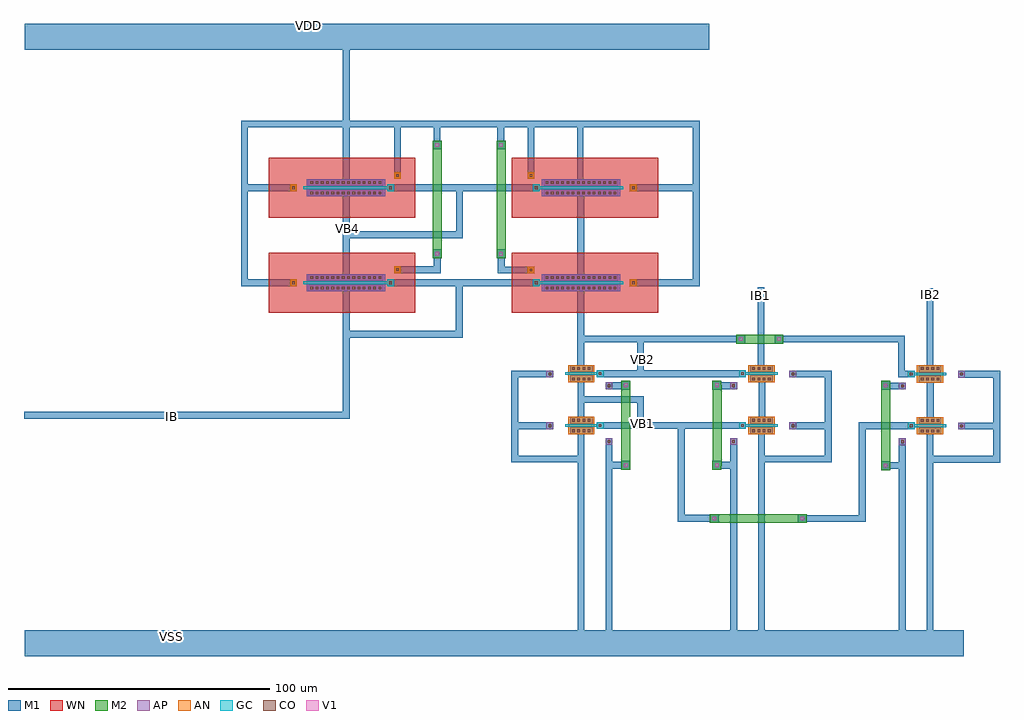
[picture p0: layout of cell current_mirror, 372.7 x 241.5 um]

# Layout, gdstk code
from math import pi, radians
import gdstk
lib = gdstk.Library(unit=1e-6, precision=1e-07)
def R(c, l, rs):  # rectangles x0, y0, x1, y1
    for r in rs: c.add(gdstk.rectangle(r[:2], r[2:], *l))
def A(c, l, x, y, w, h, nx, ny, dx, dy):  # array of equal rectangles
    R(c, l, [(x+i*dx, y+j*dy, x+i*dx+w, y+j*dy+h) for i in range(nx) for j in range(ny)])
def P(c, l, *ps):  # polygons
    for p in ps: c.add(gdstk.Polygon(p, *l))
AP = (3, 1)
AN = (3, 2)
GC = (8, 1)
CO = (11, 0)
M1 = (13, 0)
V1 = (19, 0)
M2 = (20, 0)
WN = (140, 0)

fet_n = lib.new_cell('fet_n')
R(fet_n, AN, [(-3.3,-5,3.3,5)])
A(fet_n, CO, -2.5, -3.5, 1, 1, 1, 4, 0, 2)
A(fet_n, CO, 1.5, -3.5, 1, 1, 1, 4, 0, 2)
R(fet_n, M1, [(-3.3,-4.3,-0.7,4.3), (0.7,-4.3,3.3,4.3)])
fet_n.add(gdstk.FlexPath([(0,-6.2),(0,6.2)], 1, ends="flush", simple_path=True, layer=8, datatype=1))  # GC

cont_g = lib.new_cell('cont_g')
R(cont_g, GC, [(-1.3,-1.3,1.3,1.3)])
R(cont_g, CO, [(-0.5,-0.5,0.5,0.5)])
R(cont_g, M1, [(-1.3,-1.3,1.3,1.3)])

cont_p = lib.new_cell('cont_p')
R(cont_p, AP, [(-1.3,-1.3,1.3,1.3)])
R(cont_p, CO, [(-0.5,-0.5,0.5,0.5)])
R(cont_p, M1, [(-1.3,-1.3,1.3,1.3)])

fet_p = lib.new_cell('fet_p')
R(fet_p, AP, [(-3.3,-15,3.3,15)])
A(fet_p, CO, -2.5, -13.5, 1, 1, 1, 14, 0, 2)
A(fet_p, CO, 1.5, -13.5, 1, 1, 1, 14, 0, 2)
R(fet_p, M1, [(-3.3,-14.3,-0.7,14.3), (0.7,-14.3,3.3,14.3)])
fet_p.add(gdstk.FlexPath([(0,-16.2),(0,16.2)], 1, ends="flush", simple_path=True, layer=8, datatype=1))  # GC

cont_n = lib.new_cell('cont_n')
R(cont_n, AN, [(-1.3,-1.3,1.3,1.3)])
R(cont_n, CO, [(-0.5,-0.5,0.5,0.5)])
R(cont_n, M1, [(-1.3,-1.3,1.3,1.3)])

via_1 = lib.new_cell('via_1')
R(via_1, M1, [(-1.7,-1.7,1.7,1.7)])
R(via_1, V1, [(-0.7,-0.7,0.7,0.7)])
R(via_1, M2, [(-1.7,-1.7,1.7,1.7)])

current_mirror = lib.new_cell('current_mirror')
R(current_mirror, M2, [(-542.8,-527,-508,-523.6), (-533.9,-458.5,-515.9,-455.1)])
R(current_mirror, WN, [(-712.5,-446.8,-656.5,-423.8), (-619.7,-446.8,-563.7,-423.8), (-712.5,-410.5,-656.5,-387.5), (-619.7,-410.5,-563.7,-387.5)])
P(current_mirror, WN, [(-707.9,-396),(-707.9,-396),(-707.9,-396),(-707.9,-396)],
  [(-568.3,-396),(-568.3,-396),(-568.3,-396),(-568.3,-396)],
  [(-707.9,-396),(-707.9,-396),(-707.9,-396),(-707.9,-396)],
  [(-568.3,-396),(-568.3,-396),(-568.3,-396),(-568.3,-396)],
  [(-667.4,-389.4),(-667.4,-389.4),(-667.4,-389.4),(-667.4,-389.4)],
  [(-667.4,-389.4),(-667.4,-389.4),(-667.4,-389.4),(-667.4,-389.4)],
  [(-667.4,-425.4),(-667.4,-425.4),(-667.4,-425.4),(-667.4,-425.4)],
  [(-667.4,-425.4),(-667.4,-425.4),(-667.4,-425.4),(-667.4,-425.4)],
  [(-616.4,-389.4),(-616.4,-389.4),(-616.4,-389.4),(-616.4,-389.4)],
  [(-616.4,-389.4),(-616.4,-389.4),(-616.4,-389.4),(-616.4,-389.4)])
current_mirror.add(gdstk.FlexPath([(-508.7,-525.3),(-485.8,-525.3),(-485.8,-489.9),(-467,-489.9)], 2.6, ends="flush", simple_path=True, layer=13, datatype=0))  # M1
current_mirror.add(gdstk.FlexPath([(-554.9,-489.8),(-554.9,-525.2),(-542.3,-525.2)], 2.6, ends="flush", simple_path=True, layer=13, datatype=0))  # M1
current_mirror.add(gdstk.FlexPath([(-530.3,-489.8),(-576.4,-489.8)], 2.6, ends="flush", simple_path=True, layer=13, datatype=0))  # M1
current_mirror.add(gdstk.FlexPath([(-459.8,-472.2),(-459.8,-488.1)], 2.6, ends="flush", simple_path=True, layer=13, datatype=0))  # M1
current_mirror.add(gdstk.FlexPath([(-467.1,-470.1),(-470.8,-470.1),(-470.8,-456.8),(-519.2,-456.8)], 2.6, ends="flush", simple_path=True, layer=13, datatype=0))  # M1
current_mirror.add(gdstk.FlexPath([(-531.7,-456.8),(-570.8,-456.8)], 2.6, ends="flush", simple_path=True, layer=13, datatype=0))  # M1
current_mirror.add(gdstk.FlexPath([(-544.2,-341.4),(-805.7,-341.4)], 10, ends="flush", simple_path=True, layer=13, datatype=0))  # M1
current_mirror.add(gdstk.FlexPath([(-682.9,-437.2),(-682.9,-486.1)], 2.6, ends="flush", simple_path=True, layer=13, datatype=0))  # M1
current_mirror.add(gdstk.FlexPath([(-593.3,-437.3),(-593.3,-468)], 2.6, ends="flush", simple_path=True, layer=13, datatype=0))  # M1
current_mirror.add(gdstk.FlexPath([(-585.9,-470),(-570.5,-470),(-570.5,-456.8),(-593.3,-456.8)], 2.6, ends="flush", simple_path=True, layer=13, datatype=0))  # M1
current_mirror.add(gdstk.FlexPath([(-593.5,-397.5),(-593.5,-374.4)], 2.3, ends="flush", simple_path=True, layer=13, datatype=0))  # M1
current_mirror.add(gdstk.FlexPath([(-703.1,-399),(-721.7,-399),(-721.7,-374.7),(-682.9,-374.7)], 2.6, ends="flush", simple_path=True, layer=13, datatype=0))  # M1
current_mirror.add(gdstk.FlexPath([(-682.9,-374.7),(-549.2,-374.7),(-549.2,-400.9)], 2.6, ends="flush", simple_path=True, layer=13, datatype=0))  # M1
current_mirror.add(gdstk.FlexPath([(-663.3,-394.3),(-663.3,-374.6)], 2.6, ends="flush", simple_path=True, layer=13, datatype=0))  # M1
current_mirror.add(gdstk.FlexPath([(-663.3,-430.3),(-648.1,-430.3),(-648.1,-424.2)], 2.6, ends="flush", simple_path=True, layer=13, datatype=0))  # M1
current_mirror.add(gdstk.FlexPath([(-648.2,-382.7),(-648.2,-374.8)], 2.6, ends="flush", simple_path=True, layer=13, datatype=0))  # M1
current_mirror.add(gdstk.FlexPath([(-612.3,-394.3),(-612.3,-374.6)], 2.6, ends="flush", simple_path=True, layer=13, datatype=0))  # M1
current_mirror.add(gdstk.FlexPath([(-612.2,-430.4),(-623.7,-430.4),(-623.7,-425.5)], 2.6, ends="flush", simple_path=True, layer=13, datatype=0))  # M1
current_mirror.add(gdstk.FlexPath([(-623.8,-382.7),(-623.8,-374.8)], 2.6, ends="flush", simple_path=True, layer=13, datatype=0))  # M1
current_mirror.add(gdstk.FlexPath([(-721.7,-399),(-721.7,-435.3),(-702.9,-435.3)], 2.6, ends="flush", simple_path=True, layer=13, datatype=0))  # M1
current_mirror.add(gdstk.FlexPath([(-666,-399),(-639.6,-399),(-639.6,-417),(-683,-417)], 2.6, ends="flush", simple_path=True, layer=13, datatype=0))  # M1
current_mirror.add(gdstk.FlexPath([(-682.9,-400.9),(-682.9,-433.4)], 2.6, ends="flush", simple_path=True, layer=13, datatype=0))  # M1
current_mirror.add(gdstk.FlexPath([(-665.9,-435.3),(-639.7,-435.3),(-639.7,-454.9),(-682.8,-454.9)], 2.6, ends="flush", simple_path=True, layer=13, datatype=0))  # M1
current_mirror.add(gdstk.FlexPath([(-593.3,-400.9),(-593.3,-433.4)], 2.6, ends="flush", simple_path=True, layer=13, datatype=0))  # M1
current_mirror.add(gdstk.FlexPath([(-639.6,-399),(-610.2,-399)], 2.6, ends="flush", simple_path=True, layer=13, datatype=0))  # M1
current_mirror.add(gdstk.FlexPath([(-639.7,-435.3),(-610.3,-435.3)], 2.6, ends="flush", simple_path=True, layer=13, datatype=0))  # M1
current_mirror.add(gdstk.FlexPath([(-573.2,-435.3),(-549.2,-435.3),(-549.2,-399),(-573.2,-399)], 2.6, ends="flush", simple_path=True, layer=13, datatype=0))  # M1
current_mirror.add(gdstk.FlexPath([(-682.9,-397.2),(-682.9,-340.9)], 2.6, ends="flush", simple_path=True, layer=13, datatype=0))  # M1
current_mirror.add(gdstk.FlexPath([(-593.2,-472.1),(-593.2,-488)], 2.6, ends="flush", simple_path=True, layer=13, datatype=0))  # M1
current_mirror.add(gdstk.FlexPath([(-582.5,-495.9),(-582.5,-572.4)], 2.6, ends="flush", simple_path=True, layer=13, datatype=0))  # M1
current_mirror.add(gdstk.FlexPath([(-582.6,-474.6),(-575.5,-474.6)], 2.6, ends="flush", simple_path=True, layer=13, datatype=0))  # M1
current_mirror.add(gdstk.FlexPath([(-576.2,-505),(-582.5,-505)], 2.6, ends="flush", simple_path=True, layer=13, datatype=0))  # M1
current_mirror.add(gdstk.FlexPath([(-592.9,-479.9),(-570.5,-479.9),(-570.5,-489.8),(-586,-489.8)], 2.6, ends="flush", simple_path=True, layer=13, datatype=0))  # M1
current_mirror.add(gdstk.FlexPath([(-593.2,-491.7),(-593.2,-573)], 2.6, ends="flush", simple_path=True, layer=13, datatype=0))  # M1
current_mirror.add(gdstk.FlexPath([(-605.1,-470.1),(-618.5,-470.1),(-618.5,-489.9),(-605,-489.9)], 2.6, ends="flush", simple_path=True, layer=13, datatype=0))  # M1
current_mirror.add(gdstk.FlexPath([(-618.5,-489.6),(-618.5,-502.6),(-593.2,-502.6)], 2.6, ends="flush", simple_path=True, layer=13, datatype=0))  # M1
current_mirror.add(gdstk.FlexPath([(-681.6,-485.9),(-805.9,-485.9)], 2.6, ends="flush", simple_path=True, layer=13, datatype=0))  # M1
current_mirror.add(gdstk.FlexPath([(-470.4,-474.7),(-477.5,-474.7)], 2.6, ends="flush", simple_path=True, layer=13, datatype=0))  # M1
current_mirror.add(gdstk.FlexPath([(-476.8,-505.1),(-470.5,-505.1)], 2.6, ends="flush", simple_path=True, layer=13, datatype=0))  # M1
current_mirror.add(gdstk.FlexPath([(-447.9,-470.2),(-434.5,-470.2),(-434.5,-490),(-448,-490)], 2.6, ends="flush", simple_path=True, layer=13, datatype=0))  # M1
current_mirror.add(gdstk.FlexPath([(-434.5,-489.7),(-434.5,-502.7),(-459.8,-502.7)], 2.6, ends="flush", simple_path=True, layer=13, datatype=0))  # M1
current_mirror.add(gdstk.FlexPath([(-531.4,-470),(-570.5,-470)], 2.6, ends="flush", simple_path=True, layer=13, datatype=0))  # M1
current_mirror.add(gdstk.FlexPath([(-524.1,-472.1),(-524.1,-488)], 2.6, ends="flush", simple_path=True, layer=13, datatype=0))  # M1
current_mirror.add(gdstk.FlexPath([(-534.7,-474.6),(-541.8,-474.6)], 2.6, ends="flush", simple_path=True, layer=13, datatype=0))  # M1
current_mirror.add(gdstk.FlexPath([(-541.1,-505),(-534.8,-505)], 2.6, ends="flush", simple_path=True, layer=13, datatype=0))  # M1
current_mirror.add(gdstk.FlexPath([(-512.2,-470.1),(-498.8,-470.1),(-498.8,-489.9),(-512.3,-489.9)], 2.6, ends="flush", simple_path=True, layer=13, datatype=0))  # M1
current_mirror.add(gdstk.FlexPath([(-498.8,-489.6),(-498.8,-502.6),(-524.1,-502.6)], 2.6, ends="flush", simple_path=True, layer=13, datatype=0))  # M1
current_mirror.add(gdstk.FlexPath([(-447,-572.9),(-805.7,-572.9)], 10, ends="flush", simple_path=True, layer=13, datatype=0))  # M1
current_mirror.add(gdstk.FlexPath([(-534.9,-496.3),(-534.9,-572.8)], 2.6, ends="flush", simple_path=True, layer=13, datatype=0))  # M1
current_mirror.add(gdstk.FlexPath([(-470.5,-496.3),(-470.5,-572.8)], 2.6, ends="flush", simple_path=True, layer=13, datatype=0))  # M1
current_mirror.add(gdstk.FlexPath([(-524.3,-492),(-524.3,-573.3)], 2.6, ends="flush", simple_path=True, layer=13, datatype=0))  # M1
current_mirror.add(gdstk.FlexPath([(-459.9,-491.9),(-459.9,-573.2)], 2.6, ends="flush", simple_path=True, layer=13, datatype=0))  # M1
current_mirror.add(gdstk.FlexPath([(-524.5,-437.1),(-524.5,-467.8)], 2.6, ends="flush", simple_path=True, layer=13, datatype=0))  # M1
current_mirror.add(gdstk.FlexPath([(-459.9,-437.4),(-459.9,-468.1)], 2.6, ends="flush", simple_path=True, layer=13, datatype=0))  # M1
current_mirror.add(gdstk.FlexPath([(-648.1,-424.2),(-648.1,-382.7)], 3.4, ends="flush", simple_path=True, layer=20, datatype=0))  # M2
current_mirror.add(gdstk.FlexPath([(-623.7,-424.2),(-623.7,-382.7)], 3.4, ends="flush", simple_path=True, layer=20, datatype=0))  # M2
current_mirror.add(gdstk.FlexPath([(-576.1,-474.4),(-576.1,-505.1)], 3.4, ends="flush", simple_path=True, layer=20, datatype=0))  # M2
current_mirror.add(gdstk.FlexPath([(-476.9,-474.5),(-476.9,-505.2)], 3.4, ends="flush", simple_path=True, layer=20, datatype=0))  # M2
current_mirror.add(gdstk.FlexPath([(-541.2,-474.4),(-541.2,-505.1)], 3.4, ends="flush", simple_path=True, layer=20, datatype=0))  # M2
current_mirror.add(gdstk.Reference(fet_n, (-593.1,-470), rotation=pi/2))
current_mirror.add(gdstk.Reference(cont_g, (-585.9,-470), rotation=pi/2))
current_mirror.add(gdstk.Reference(cont_p, (-605.1,-470.1), rotation=pi/2))
current_mirror.add(gdstk.Reference(fet_p, (-683,-399), rotation=pi/2))
current_mirror.add(gdstk.Reference(cont_g, (-665.9,-399)))
current_mirror.add(gdstk.Reference(cont_n, (-703,-399)))
current_mirror.add(gdstk.Reference(via_1, (-532.2,-456.8), rotation=pi/2, x_reflection=True))
current_mirror.add(gdstk.Reference(via_1, (-517.6,-456.8), rotation=pi/2, x_reflection=True))
current_mirror.add(gdstk.Reference(fet_p, (-683,-435.3), rotation=pi/2))
current_mirror.add(gdstk.Reference(cont_g, (-665.9,-435.3)))
current_mirror.add(gdstk.Reference(cont_n, (-703,-435.3)))
current_mirror.add(gdstk.Reference(cont_n, (-703,-399)))
current_mirror.add(gdstk.Reference(cont_n, (-663.3,-394.3)))
current_mirror.add(gdstk.Reference(cont_n, (-663.3,-394.3)))
current_mirror.add(gdstk.Reference(cont_n, (-663.3,-430.3)))
current_mirror.add(gdstk.Reference(cont_n, (-663.3,-430.3)))
current_mirror.add(gdstk.Reference(via_1, (-648.1,-424.2)))
current_mirror.add(gdstk.Reference(via_1, (-648.1,-382.7)))
current_mirror.add(gdstk.Reference(cont_n, (-612.3,-394.3)))
current_mirror.add(gdstk.Reference(cont_n, (-612.3,-394.3)))
current_mirror.add(gdstk.Reference(cont_n, (-612.3,-430.4)))
current_mirror.add(gdstk.Reference(via_1, (-623.7,-424.2)))
current_mirror.add(gdstk.Reference(via_1, (-623.7,-382.7)))
current_mirror.add(gdstk.Reference(fet_p, (-593.2,-435.3), rotation=pi/2, x_reflection=True))
current_mirror.add(gdstk.Reference(cont_g, (-610.3,-435.3), rotation=pi, x_reflection=True))
current_mirror.add(gdstk.Reference(cont_n, (-573.2,-435.3), rotation=pi, x_reflection=True))
current_mirror.add(gdstk.Reference(cont_g, (-610.3,-399), rotation=pi, x_reflection=True))
current_mirror.add(gdstk.Reference(fet_p, (-593.2,-399), rotation=pi/2, x_reflection=True))
current_mirror.add(gdstk.Reference(cont_n, (-573.2,-399), rotation=pi, x_reflection=True))
current_mirror.add(gdstk.Reference(cont_p, (-582.5,-474.6), rotation=pi/2))
current_mirror.add(gdstk.Reference(cont_p, (-582.5,-495.9), rotation=pi/2))
current_mirror.add(gdstk.Reference(via_1, (-576.1,-505), rotation=pi/2))
current_mirror.add(gdstk.Reference(via_1, (-576.1,-474.4), rotation=pi/2))
current_mirror.add(gdstk.Reference(cont_p, (-605.1,-489.9), rotation=pi/2))
current_mirror.add(gdstk.Reference(fet_n, (-593.1,-489.8), rotation=pi/2))
current_mirror.add(gdstk.Reference(cont_g, (-585.9,-489.8), rotation=pi/2))
current_mirror.add(gdstk.Reference(fet_n, (-459.9,-470.1), rotation=pi/2, x_reflection=True))
current_mirror.add(gdstk.Reference(cont_g, (-467.1,-470.1), rotation=pi/2, x_reflection=True))
current_mirror.add(gdstk.Reference(cont_p, (-447.9,-470.2), rotation=pi/2, x_reflection=True))
current_mirror.add(gdstk.Reference(cont_p, (-470.5,-474.7), rotation=pi/2, x_reflection=True))
current_mirror.add(gdstk.Reference(cont_p, (-470.5,-496), rotation=pi/2, x_reflection=True))
current_mirror.add(gdstk.Reference(via_1, (-476.9,-505.1), rotation=pi/2, x_reflection=True))
current_mirror.add(gdstk.Reference(via_1, (-476.9,-474.5), rotation=pi/2, x_reflection=True))
current_mirror.add(gdstk.Reference(cont_p, (-447.9,-490), rotation=pi/2, x_reflection=True))
current_mirror.add(gdstk.Reference(fet_n, (-459.9,-489.9), rotation=pi/2, x_reflection=True))
current_mirror.add(gdstk.Reference(cont_g, (-467.1,-489.9), rotation=pi/2, x_reflection=True))
current_mirror.add(gdstk.Reference(fet_n, (-524.3,-470), rotation=pi/2, x_reflection=True))
current_mirror.add(gdstk.Reference(cont_g, (-531.5,-470), rotation=pi/2, x_reflection=True))
current_mirror.add(gdstk.Reference(cont_p, (-512.3,-470.1), rotation=pi/2, x_reflection=True))
current_mirror.add(gdstk.Reference(cont_p, (-534.9,-474.6), rotation=pi/2, x_reflection=True))
current_mirror.add(gdstk.Reference(cont_p, (-534.9,-495.9), rotation=pi/2, x_reflection=True))
current_mirror.add(gdstk.Reference(via_1, (-541.3,-505), rotation=pi/2, x_reflection=True))
current_mirror.add(gdstk.Reference(via_1, (-541.3,-474.4), rotation=pi/2, x_reflection=True))
current_mirror.add(gdstk.Reference(cont_p, (-512.3,-489.9), rotation=pi/2, x_reflection=True))
current_mirror.add(gdstk.Reference(fet_n, (-524.3,-489.8), rotation=pi/2, x_reflection=True))
current_mirror.add(gdstk.Reference(cont_g, (-531.5,-489.8), rotation=pi/2, x_reflection=True))
current_mirror.add(gdstk.Reference(via_1, (-542.3,-525.3), rotation=pi/2, x_reflection=True))
current_mirror.add(gdstk.Reference(via_1, (-508.7,-525.3), rotation=pi/2, x_reflection=True))
current_mirror.add(gdstk.Label('VDD', (-697.1,-336.9), layer=48, texttype=0))
current_mirror.add(gdstk.Label('IB', (-749.5,-486.5), layer=48, texttype=0))
current_mirror.add(gdstk.Label('VSS', (-749.5,-570.2), layer=48, texttype=0))
current_mirror.add(gdstk.Label('VB4', (-682.4,-414.4), layer=48, texttype=0))
current_mirror.add(gdstk.Label('VB2', (-569.7,-464.7), layer=48, texttype=0))
current_mirror.add(gdstk.Label('VB1', (-569.7,-488.9), layer=48, texttype=0))
current_mirror.add(gdstk.Label('IB1', (-524.5,-440.2), layer=48, texttype=0))
current_mirror.add(gdstk.Label('IB2', (-459.7,-439.9), layer=48, texttype=0))

lib.write_gds('current_mirror.gds')
